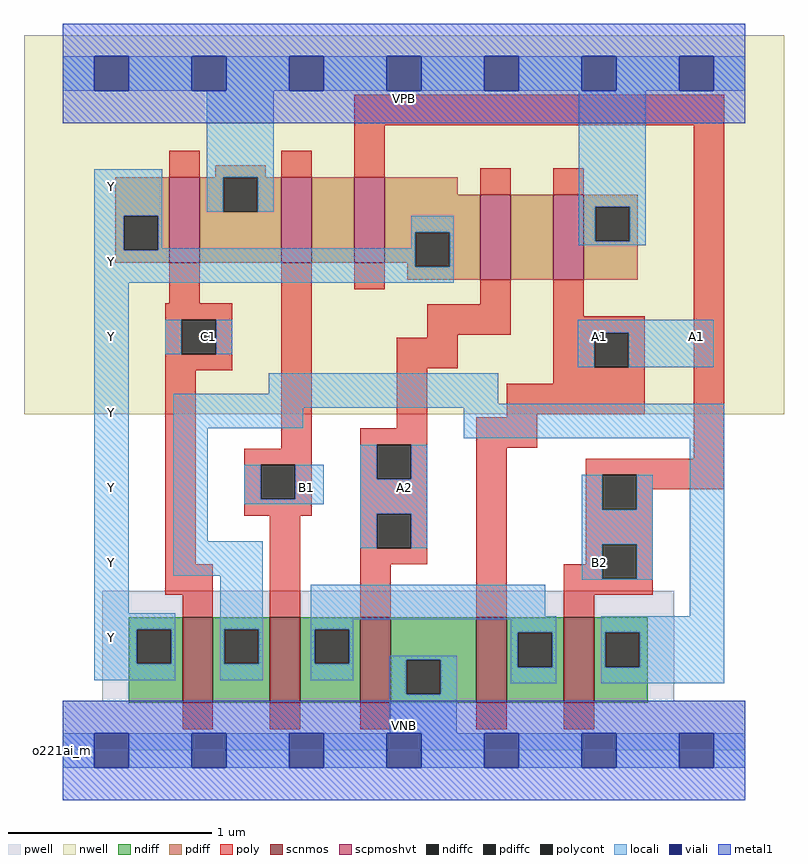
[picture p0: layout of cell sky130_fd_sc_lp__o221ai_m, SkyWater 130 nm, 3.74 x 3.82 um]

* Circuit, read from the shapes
.subckt sky130_fd_sc_lp__o221ai_m A1 A2 B1 B2 C1 VGND VNB VPB VPWR Y
XM1 n1 C1 Y VNB sky130_fd_pr__nfet_01v8 w=0.42 l=0.15
XM2 n2 B1 n1 VNB sky130_fd_pr__nfet_01v8 w=0.42 l=0.15
XM3 VGND A2 n2 VNB sky130_fd_pr__nfet_01v8 w=0.42 l=0.15
XM4 n2 A1 VGND VNB sky130_fd_pr__nfet_01v8 w=0.42 l=0.15
XM5 n1 B2 n2 VNB sky130_fd_pr__nfet_01v8 w=0.42 l=0.15
XM6 VPWR C1 Y VPB sky130_fd_pr__pfet_01v8_hvt w=0.42 l=0.15
XM7 n3 B1 VPWR VPB sky130_fd_pr__pfet_01v8_hvt w=0.42 l=0.15
XM8 Y B2 n3 VPB sky130_fd_pr__pfet_01v8_hvt w=0.42 l=0.15
XM9 n4 A2 Y VPB sky130_fd_pr__pfet_01v8_hvt w=0.42 l=0.15
XM10 VPWR A1 n4 VPB sky130_fd_pr__pfet_01v8_hvt w=0.42 l=0.15
.ends

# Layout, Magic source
magic
tech sky130A
magscale 1 2
<< nwell >>
rect -38 331 710 704
<< pwell >>
rect 39 49 602 157
rect 0 0 672 49
<< scnmos >>
rect 118 47 148 131
rect 204 47 234 131
rect 293 47 323 131
rect 407 47 437 131
rect 493 47 523 131
<< scpmoshvt >>
rect 105 480 135 564
rect 215 480 245 564
rect 287 480 317 564
rect 411 463 441 547
rect 483 463 513 547
<< ndiff >>
rect 65 119 118 131
rect 65 85 73 119
rect 107 85 118 119
rect 65 47 118 85
rect 148 119 204 131
rect 148 85 159 119
rect 193 85 204 119
rect 148 47 204 85
rect 234 119 293 131
rect 234 85 248 119
rect 282 85 293 119
rect 234 47 293 85
rect 323 89 407 131
rect 323 55 338 89
rect 372 55 407 89
rect 323 47 407 55
rect 437 116 493 131
rect 437 82 448 116
rect 482 82 493 116
rect 437 47 493 82
rect 523 116 576 131
rect 523 82 534 116
rect 568 82 576 116
rect 523 47 576 82
<< pdiff >>
rect 150 564 200 576
rect 52 526 105 564
rect 52 492 60 526
rect 94 492 105 526
rect 52 480 105 492
rect 135 530 158 564
rect 192 530 215 564
rect 135 480 215 530
rect 245 480 287 564
rect 317 547 389 564
rect 317 510 411 547
rect 317 480 347 510
rect 339 476 347 480
rect 381 476 411 510
rect 339 463 411 476
rect 441 463 483 547
rect 513 535 566 547
rect 513 501 524 535
rect 558 501 566 535
rect 513 463 566 501
<< ndiffc >>
rect 73 85 107 119
rect 159 85 193 119
rect 248 85 282 119
rect 338 55 372 89
rect 448 82 482 116
rect 534 82 568 116
<< pdiffc >>
rect 60 492 94 526
rect 158 530 192 564
rect 347 476 381 510
rect 524 501 558 535
<< poly >>
rect 287 615 651 645
rect 105 564 135 590
rect 215 564 245 590
rect 287 564 317 615
rect 411 547 441 573
rect 483 547 513 573
rect 105 440 135 480
rect 101 424 167 440
rect 101 390 117 424
rect 151 390 167 424
rect 101 374 167 390
rect 101 183 131 374
rect 215 297 245 480
rect 287 454 317 480
rect 411 439 441 463
rect 359 409 441 439
rect 483 427 513 463
rect 483 411 573 427
rect 359 406 389 409
rect 329 376 389 406
rect 483 377 523 411
rect 557 377 573 411
rect 329 317 359 376
rect 483 361 573 377
rect 437 331 573 361
rect 437 328 467 331
rect 179 281 245 297
rect 179 247 195 281
rect 229 247 245 281
rect 179 231 245 247
rect 293 301 359 317
rect 293 267 309 301
rect 343 267 359 301
rect 293 233 359 267
rect 101 153 148 183
rect 118 131 148 153
rect 204 131 234 231
rect 293 199 309 233
rect 343 199 359 233
rect 293 183 359 199
rect 407 298 467 328
rect 293 131 323 183
rect 407 131 437 298
rect 621 287 651 615
rect 515 271 651 287
rect 515 237 531 271
rect 565 257 651 271
rect 565 237 581 257
rect 515 203 581 237
rect 515 183 531 203
rect 493 169 531 183
rect 565 169 581 203
rect 493 153 581 169
rect 493 131 523 153
rect 118 21 148 47
rect 204 21 234 47
rect 293 21 323 47
rect 407 21 437 47
rect 493 21 523 47
<< polycont >>
rect 117 390 151 424
rect 523 377 557 411
rect 195 247 229 281
rect 309 267 343 301
rect 309 199 343 233
rect 531 237 565 271
rect 531 169 565 203
<< locali >>
rect 0 649 31 683
rect 65 649 127 683
rect 161 649 223 683
rect 257 649 319 683
rect 353 649 415 683
rect 449 649 511 683
rect 545 649 607 683
rect 641 649 672 683
rect 31 526 98 572
rect 142 564 208 649
rect 142 530 158 564
rect 192 530 208 564
rect 508 535 574 649
rect 31 492 60 526
rect 94 494 98 526
rect 343 510 385 526
rect 343 494 347 510
rect 94 492 347 494
rect 31 476 347 492
rect 381 476 385 510
rect 508 501 524 535
rect 558 501 574 535
rect 508 497 574 501
rect 31 460 385 476
rect 31 135 65 460
rect 101 390 117 424
rect 151 390 167 424
rect 507 411 641 424
rect 507 377 523 411
rect 557 377 641 411
rect 203 351 429 371
rect 109 341 429 351
rect 109 337 651 341
rect 109 317 237 337
rect 109 206 143 317
rect 395 307 651 337
rect 179 247 195 281
rect 229 247 257 281
rect 179 242 257 247
rect 293 267 309 301
rect 343 267 359 301
rect 293 233 359 267
rect 109 172 197 206
rect 293 199 309 233
rect 343 199 359 233
rect 511 237 531 271
rect 565 237 581 271
rect 511 203 581 237
rect 31 119 111 135
rect 31 85 73 119
rect 107 85 111 119
rect 31 69 111 85
rect 155 119 197 172
rect 511 169 531 203
rect 565 169 581 203
rect 511 168 581 169
rect 155 85 159 119
rect 193 85 197 119
rect 155 69 197 85
rect 244 132 475 163
rect 617 132 651 307
rect 244 129 486 132
rect 244 119 286 129
rect 244 85 248 119
rect 282 85 286 119
rect 441 116 486 129
rect 244 69 286 85
rect 322 89 388 93
rect 322 55 338 89
rect 372 55 388 89
rect 441 82 448 116
rect 482 82 486 116
rect 441 66 486 82
rect 530 116 651 132
rect 530 82 534 116
rect 568 82 651 116
rect 530 66 651 82
rect 322 17 388 55
rect 0 -17 31 17
rect 65 -17 127 17
rect 161 -17 223 17
rect 257 -17 319 17
rect 353 -17 415 17
rect 449 -17 511 17
rect 545 -17 607 17
rect 641 -17 672 17
<< viali >>
rect 31 649 65 683
rect 127 649 161 683
rect 223 649 257 683
rect 319 649 353 683
rect 415 649 449 683
rect 511 649 545 683
rect 607 649 641 683
rect 31 -17 65 17
rect 127 -17 161 17
rect 223 -17 257 17
rect 319 -17 353 17
rect 415 -17 449 17
rect 511 -17 545 17
rect 607 -17 641 17
<< metal1 >>
rect 0 683 672 715
rect 0 649 31 683
rect 65 649 127 683
rect 161 649 223 683
rect 257 649 319 683
rect 353 649 415 683
rect 449 649 511 683
rect 545 649 607 683
rect 641 649 672 683
rect 0 617 672 649
rect 0 17 672 49
rect 0 -17 31 17
rect 65 -17 127 17
rect 161 -17 223 17
rect 257 -17 319 17
rect 353 -17 415 17
rect 449 -17 511 17
rect 545 -17 607 17
rect 641 -17 672 17
rect 0 -49 672 -17
<< labels >>
flabel pwell s 0 0 672 49 0 FreeSans 200 0 0 0 VNB
port 7 nsew ground bidirectional
flabel nwell s 0 617 672 666 0 FreeSans 200 0 0 0 VPB
port 8 nsew power bidirectional
rlabel comment s 0 0 0 0 4 o221ai_m
flabel metal1 s 0 617 672 666 0 FreeSans 340 0 0 0 VPWR
port 9 nsew power bidirectional
flabel metal1 s 0 0 672 49 0 FreeSans 340 0 0 0 VGND
port 6 nsew ground bidirectional
flabel locali s 511 390 545 424 0 FreeSans 340 0 0 0 A1
port 1 nsew signal input
flabel locali s 607 390 641 424 0 FreeSans 340 0 0 0 A1
port 1 nsew signal input
flabel locali s 319 242 353 276 0 FreeSans 340 0 0 0 A2
port 2 nsew signal input
flabel locali s 223 242 257 276 0 FreeSans 340 0 0 0 B1
port 3 nsew signal input
flabel locali s 511 168 545 202 0 FreeSans 340 0 0 0 B2
port 4 nsew signal input
flabel locali s 127 390 161 424 0 FreeSans 340 0 0 0 C1
port 5 nsew signal input
flabel locali s 31 94 65 128 0 FreeSans 340 0 0 0 Y
port 10 nsew signal output
flabel locali s 31 168 65 202 0 FreeSans 340 0 0 0 Y
port 10 nsew signal output
flabel locali s 31 242 65 276 0 FreeSans 340 0 0 0 Y
port 10 nsew signal output
flabel locali s 31 316 65 350 0 FreeSans 340 0 0 0 Y
port 10 nsew signal output
flabel locali s 31 390 65 424 0 FreeSans 340 0 0 0 Y
port 10 nsew signal output
flabel locali s 31 464 65 498 0 FreeSans 340 0 0 0 Y
port 10 nsew signal output
flabel locali s 31 538 65 572 0 FreeSans 340 0 0 0 Y
port 10 nsew signal output
<< properties >>
string LEFsite unit
string LEFclass CORE
string FIXED_BBOX 0 0 672 666
string GDS_FILE $PDKPATH/libs.ref/sky130_fd_sc_lp/gds/sky130_fd_sc_lp.gds
string LEFsymmetry X Y R90
string GDS_END 5847668
string GDS_START 5840720
<< end >>
